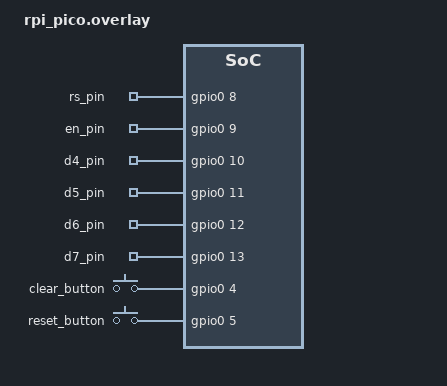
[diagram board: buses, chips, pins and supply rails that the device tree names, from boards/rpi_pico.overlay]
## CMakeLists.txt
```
cmake_minimum_required(VERSION 3.20.0)

find_package(Zephyr REQUIRED HINTS $ENV{ZEPHYR_BASE})

project(lcd)

target_sources(app PRIVATE src/main.c)
```

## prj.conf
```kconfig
CONFIG_GPIO=y
CONFIG_SERIAL=y
CONFIG_PRINTK=y

CONFIG_USB_DEVICE_STACK_NEXT=y

CONFIG_CDC_ACM_SERIAL_INITIALIZE_AT_BOOT=y
```

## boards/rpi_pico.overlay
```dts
/{
    lcd_devices{

        compatible = "gpio-leds";

        rs_pin: rs_pin{
            gpios = <&gpio0 8 GPIO_ACTIVE_HIGH>;
        };
        en_pin: en_pin{
            gpios = <&gpio0 9 GPIO_ACTIVE_HIGH>;
        };
        d4_pin: d4_pin{
            gpios = <&gpio0 10 GPIO_ACTIVE_HIGH>;
        };
        d5_pin: d5_pin{
            gpios = <&gpio0 11 GPIO_ACTIVE_HIGH>;
        };
        d6_pin: d6_pin{
            gpios = <&gpio0 12 GPIO_ACTIVE_HIGH>;
        };
        d7_pin: d7_pin{
            gpios = <&gpio0 13 GPIO_ACTIVE_HIGH>;
        };
    };

    gpio_keys{
        compatible = "gpio-keys";

        clear_button: button1{
            gpios = <&gpio0 4 (GPIO_ACTIVE_HIGH | GPIO_PULL_UP)>;
        };

        reset_button: button2{
            gpios = <&gpio0 5 (GPIO_ACTIVE_HIGH | GPIO_PULL_UP)>;
        };
    };

    aliases{
        en = &en_pin;
        rs = &rs_pin;
        d4 = &d4_pin;
        d5 = &d5_pin;
        d6 = &d6_pin;
        d7 = &d7_pin;
        clear = &clear_button;
        reset = &reset_button;
    };
};
```

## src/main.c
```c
#include <stdint.h>
#include <zephyr/kernel.h>
#include <zephyr/devicetree.h>
#include <zephyr/drivers/gpio.h>


#define EN_PIN DT_ALIAS(en)
#define RS_PIN DT_ALIAS(rs)
#define D4_PIN DT_ALIAS(d4)
#define D5_PIN DT_ALIAS(d5)
#define D6_PIN DT_ALIAS(d6)
#define D7_PIN DT_ALIAS(d7)

#define CLEAR DT_ALIAS(clear)
#define RESET DT_ALIAS(reset)

/* Commands */
#define CMD_CLEAR        0x01
#define CMD_HOME         0x02
#define CMD_ENTRY_MODE   0x04
#define CMD_DISPLAY_CTRL 0x08
#define CMD_SHIFT        0x10
#define CMD_FUNC_SET     0x20
#define CMD_SET_CGRAM    0x40
#define CMD_SET_DDRAM    0x80

/* Bits */
#define ENTRY_INC        0x02
#define DISP_ON          0x04
#define CURSOR_ON        0x02
#define BLINK_ON         0x01
#define SHIFT_DISPLAY    0x08
#define SHIFT_RIGHT      0x04
#define FUNC_4BIT_2LINE_5X8 0x28

#define LCD_ROWS 2
#define LCD_COLS 16

static uint8_t disp_ctrl = DISP_ON;

static const struct gpio_dt_spec en_pin = GPIO_DT_SPEC_GET(EN_PIN, gpios);
static const struct gpio_dt_spec rs_pin = GPIO_DT_SPEC_GET(RS_PIN, gpios);
static const struct gpio_dt_spec d4_pin = GPIO_DT_SPEC_GET(D4_PIN, gpios);
static const struct gpio_dt_spec d5_pin = GPIO_DT_SPEC_GET(D5_PIN, gpios);
static const struct gpio_dt_spec d6_pin = GPIO_DT_SPEC_GET(D6_PIN, gpios);
static const struct gpio_dt_spec d7_pin = GPIO_DT_SPEC_GET(D7_PIN, gpios);

static const struct gpio_dt_spec reset_pin = GPIO_DT_SPEC_GET(RESET, gpios);
static const struct gpio_dt_spec clear_pin = GPIO_DT_SPEC_GET(CLEAR, gpios);

static void pulse_enable(void)
{
    gpio_pin_set_dt(&en_pin, 0);
    k_busy_wait(1);
    gpio_pin_set_dt(&en_pin, 1);
    k_busy_wait(1);
    gpio_pin_set_dt(&en_pin, 0);
    k_busy_wait(50);
}

static void write_nibble(uint8_t nibble)
{
    gpio_pin_set_dt(&d4_pin, (nibble >> 0)&1 );
    gpio_pin_set_dt(&d5_pin, (nibble >> 1)&1 );
    gpio_pin_set_dt(&d6_pin, (nibble >> 2)&1 );
    gpio_pin_set_dt(&d7_pin, (nibble >> 3)&1 );

    pulse_enable();
}

void send(uint8_t value, int rs_value)
{
    gpio_pin_set_dt(&rs_pin, rs_value);
    write_nibble(value >> 4);
    write_nibble(value & 0x0F);
}

void command(uint8_t cmd)
{
    send(cmd, 0); //0 is for sending command
}

void lcd_clear(void)
{
    command(CMD_CLEAR);
    k_msleep(5);
}

void lcd_init(void)
{
    //setting everything to the output

    gpio_pin_configure_dt(&rs_pin, GPIO_OUTPUT);
    gpio_pin_configure_dt(&en_pin, GPIO_OUTPUT);
    gpio_pin_configure_dt(&d4_pin, GPIO_OUTPUT);
    gpio_pin_configure_dt(&d5_pin, GPIO_OUTPUT);
    gpio_pin_configure_dt(&d6_pin, GPIO_OUTPUT);
    gpio_pin_configure_dt(&d7_pin, GPIO_OUTPUT);

    //setting the display in 4 bit mode,
    gpio_pin_set_dt(&rs_pin, 0); //sending command instead of character
    write_nibble(0x03); //sending the command to  inital 8-bit configuration mode
    k_msleep(5);
    write_nibble(0x03); 
    k_busy_wait(150);
    write_nibble(0x03); 
    k_busy_wait(150);
    write_nibble(0x02);  // 0x02 setting it to 4 bit configuration
    k_busy_wait(150);

    command(FUNC_4BIT_2LINE_5X8);
    k_busy_wait(50);
    disp_ctrl |= DISP_ON;
    command(CMD_DISPLAY_CTRL | disp_ctrl);
    lcd_clear();
    command(CMD_ENTRY_MODE | ENTRY_INC); //making the cmd entry mode and also make the curon go to next line after putting a character

}

void update_cmd(void){
    command(CMD_DISPLAY_CTRL | disp_ctrl);
}

void lcd_home(void)
{
    command(CMD_HOME);
    k_msleep(5);
}

void lcd_display_on(void)
{
    disp_ctrl |= DISP_ON;
    update_cmd();
}
void lcd_display_off(void)
{
    disp_ctrl &= ~DISP_ON;
    update_cmd();
}
void lcd_curson_on(void)
{
    disp_ctrl |= CURSOR_ON;
    update_cmd();
}
void lcd_curson_off(void)
{
    disp_ctrl &= ~CURSOR_ON;
    update_cmd();
}
void lcd_blink_on(void)
{
    disp_ctrl |= BLINK_ON;
    update_cmd();
}
void lcd_blink_off(void)
{
    disp_ctrl &= ~BLINK_ON;
    update_cmd();
}

void set_cursor(uint8_t row,uint8_t col)
{
    uint8_t row_offset[3] = {0x00, 0x40, 0x14, 0x54};

    if(row >= LCD_ROWS)
    {
        row = LCD_ROWS - 1;
    }
    if(col >= LCD_COLS)
    {
        col = LCD_COLS -1;
    }

    command(CMD_SET_DDRAM | (row_offset[row] + col));
    
}

void lcd_write_char(char ch)
{
    send(ch, 1);
}

void lcd_print(const char* str)
{
    while( str != NULL && *str != '\0'){
        lcd_write_char((uint8_t)*str);
        str++;
    }
}

int main()
{
    lcd_init();

    gpio_pin_configure_dt(&reset_pin, GPIO_INPUT);
    gpio_pin_configure_dt(&clear_pin, GPIO_INPUT);

        
    set_cursor(0,0);
    lcd_print("Hello World");
    set_cursor(1,0);
    lcd_print("Welcome Home");
    while(1){
        printk("Hello LCD Init !!!\n");
        k_msleep(1000);

        int clr_val = gpio_pin_get_dt(&clear_pin);
        if(clr_val == 0)
        {
            lcd_clear();
        }

        int res_val = gpio_pin_get_dt(&reset_pin);
        if(res_val == 0)
        {
            lcd_clear();
            set_cursor(0,0);
            lcd_print("Creation Sri Ranga Raj");
        }


    }
    return 0;
}
```
